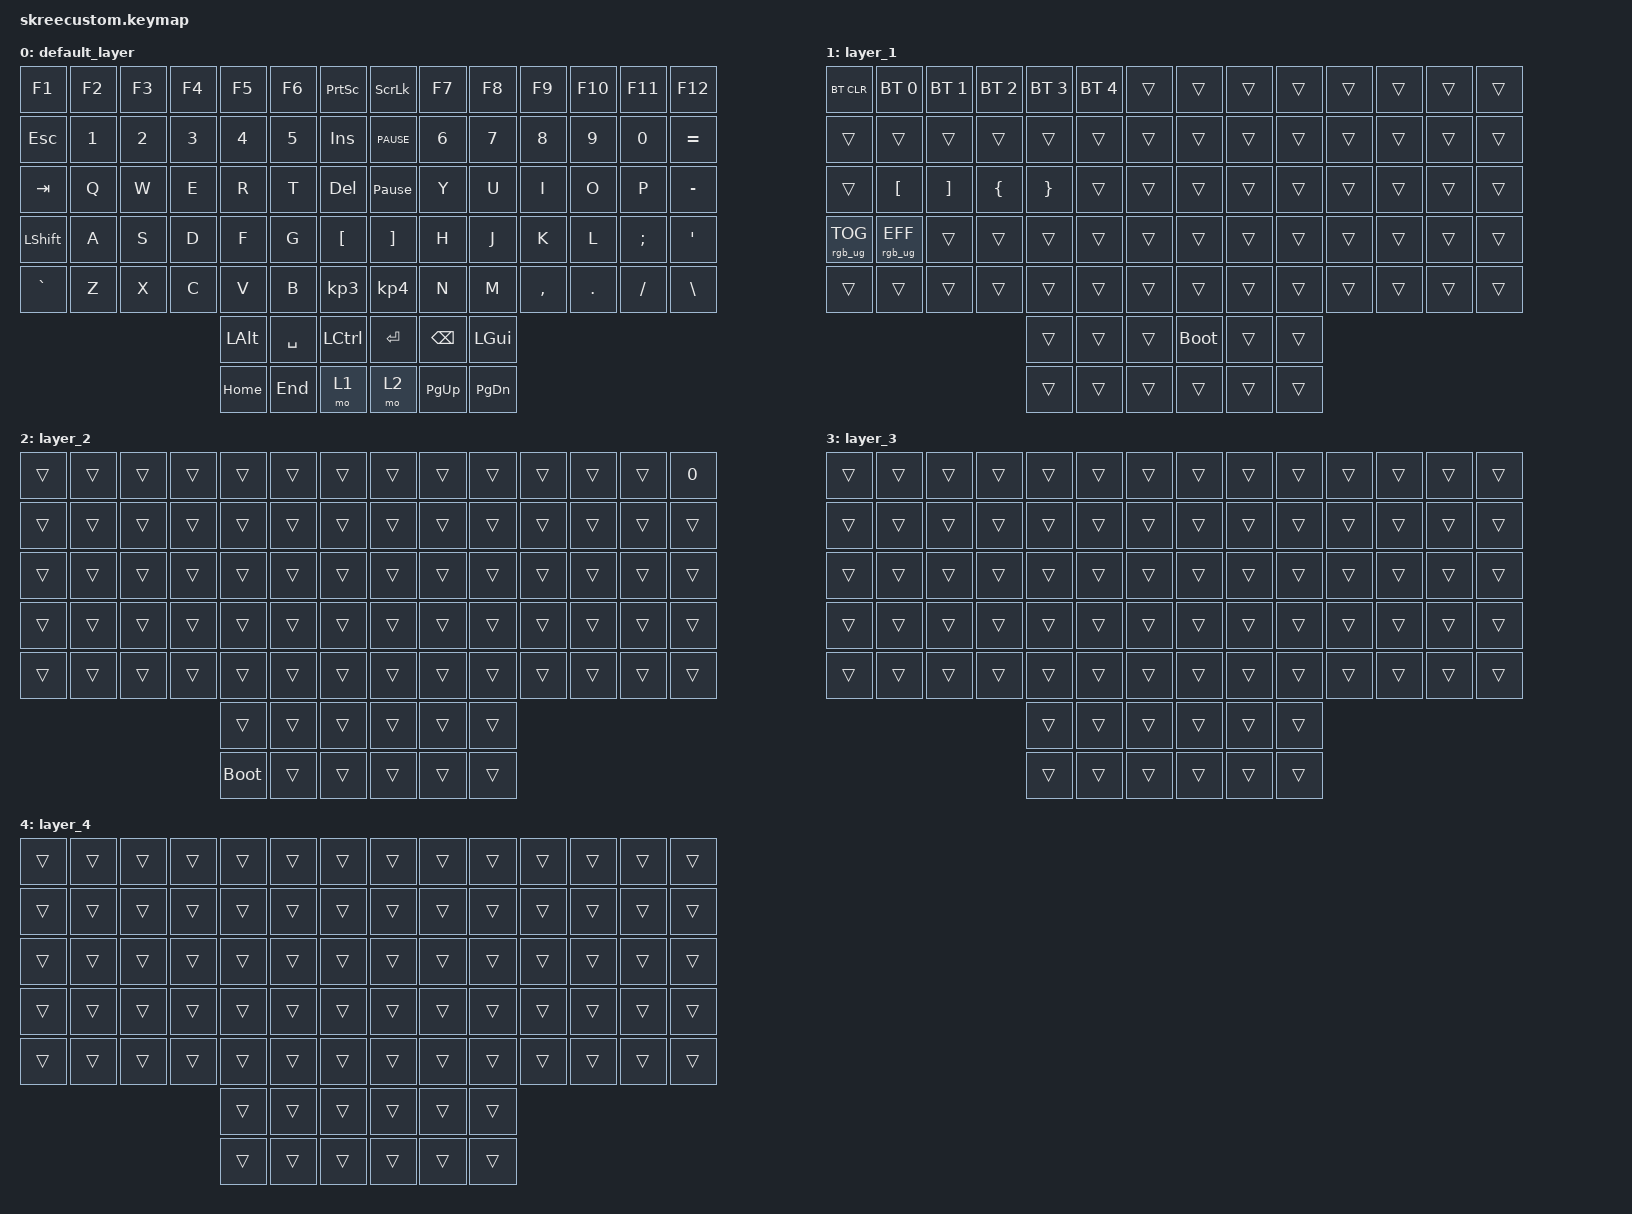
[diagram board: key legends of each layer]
/*
 * Copyright (c) 2020 The ZMK Contributors
 *
 * SPDX-License-Identifier: MIT
 */
//#include <behaviors/mouse_keys.dtsi>

#include <behaviors.dtsi>
#include <dt-bindings/zmk/bt.h>
#include <dt-bindings/zmk/keys.h>
#include <dt-bindings/zmk/rgb.h>

/ {
    keymap {
        compatible = "zmk,keymap";

        default_layer {
            bindings = <
&kp F1          &kp F2  &kp F3  &kp F4  &kp F5        &kp F6     &kp PRINTSCREEN     &kp SCROLLLOCK     &kp F7         &kp F8         &kp F9     &kp F10  &kp F11   &kp F12
&kp ESC         &kp N1  &kp N2  &kp N3  &kp N4        &kp N5     &kp INSERT          &kp C_PAUSE        &kp N6         &kp N7         &kp N8     &kp N9   &kp N0    &kp EQUAL
&kp TAB         &kp Q   &kp W   &kp E   &kp R         &kp T      &kp DELETE          &kp PAUSE_BREAK    &kp Y          &kp U          &kp I      &kp O    &kp P     &kp MINUS
&kp LEFT_SHIFT  &kp A   &kp S   &kp D   &kp F         &kp G      &kp LEFT_BRACKET    &kp RIGHT_BRACKET  &kp H          &kp J          &kp K      &kp L    &kp SEMI  &kp SQT
&kp GRAVE       &kp Z   &kp X   &kp C   &kp V         &kp B      &kp KP_NUMBER_3     &kp KP_NUMBER_4    &kp N          &kp M          &kp COMMA  &kp DOT  &kp FSLH  &kp BSLH
                                        &kp LEFT_ALT  &kp SPACE  &kp LEFT_CONTROL    &kp ENTER          &kp BACKSPACE  &kp LGUI
                                        &kp HOME      &kp END    &mo 1               &mo 2              &kp PAGE_UP    &kp PAGE_DOWN
            >;
        };

        layer_1 {
            bindings = <
&bt BT_CLR       &bt BT_SEL 0      &bt BT_SEL 1       &bt BT_SEL 2    &bt BT_SEL 3     &bt BT_SEL 4  &trans    &trans       &trans  &trans  &trans  &trans  &trans  &trans
&trans           &trans            &trans             &trans          &trans           &trans        &trans    &trans       &trans  &trans  &trans  &trans  &trans  &trans
&trans           &kp LEFT_BRACKET  &kp RIGHT_BRACKET  &kp LEFT_BRACE  &kp RIGHT_BRACE  &trans        &trans    &trans       &trans  &trans  &trans  &trans  &trans  &trans
&rgb_ug RGB_TOG  &rgb_ug RGB_EFF   &trans             &trans          &trans           &trans        &trans    &trans       &trans  &trans  &trans  &trans  &trans  &trans
&trans           &trans            &trans             &trans          &trans           &trans        &trans    &trans       &trans  &trans  &trans  &trans  &trans  &trans
                                                                      &trans           &trans        &trans    &bootloader  &trans  &trans
                                                                      &trans           &trans        &trans    &trans       &trans  &trans
            >;
        };

        layer_2 {
            bindings = <
&trans  &trans  &trans  &trans  &trans       &trans  &trans    &trans  &trans  &trans  &trans  &trans  &trans  &kp N0
&trans  &trans  &trans  &trans  &trans       &trans  &trans    &trans  &trans  &trans  &trans  &trans  &trans  &trans
&trans  &trans  &trans  &trans  &trans       &trans  &trans    &trans  &trans  &trans  &trans  &trans  &trans  &trans
&trans  &trans  &trans  &trans  &trans       &trans  &trans    &trans  &trans  &trans  &trans  &trans  &trans  &trans
&trans  &trans  &trans  &trans  &trans       &trans  &trans    &trans  &trans  &trans  &trans  &trans  &trans  &trans
                                &trans       &trans  &trans    &trans  &trans  &trans
                                &bootloader  &trans  &trans    &trans  &trans  &trans
            >;
        };

        layer_3 {
            bindings = <
&trans  &trans  &trans  &trans  &trans  &trans  &trans    &trans  &trans  &trans  &trans  &trans  &trans  &trans
&trans  &trans  &trans  &trans  &trans  &trans  &trans    &trans  &trans  &trans  &trans  &trans  &trans  &trans
&trans  &trans  &trans  &trans  &trans  &trans  &trans    &trans  &trans  &trans  &trans  &trans  &trans  &trans
&trans  &trans  &trans  &trans  &trans  &trans  &trans    &trans  &trans  &trans  &trans  &trans  &trans  &trans
&trans  &trans  &trans  &trans  &trans  &trans  &trans    &trans  &trans  &trans  &trans  &trans  &trans  &trans
                                &trans  &trans  &trans    &trans  &trans  &trans
                                &trans  &trans  &trans    &trans  &trans  &trans
            >;
        };

        layer_4 {
            bindings = <
&trans  &trans  &trans  &trans  &trans  &trans  &trans    &trans  &trans  &trans  &trans  &trans  &trans  &trans
&trans  &trans  &trans  &trans  &trans  &trans  &trans    &trans  &trans  &trans  &trans  &trans  &trans  &trans
&trans  &trans  &trans  &trans  &trans  &trans  &trans    &trans  &trans  &trans  &trans  &trans  &trans  &trans
&trans  &trans  &trans  &trans  &trans  &trans  &trans    &trans  &trans  &trans  &trans  &trans  &trans  &trans
&trans  &trans  &trans  &trans  &trans  &trans  &trans    &trans  &trans  &trans  &trans  &trans  &trans  &trans
                                &trans  &trans  &trans    &trans  &trans  &trans
                                &trans  &trans  &trans    &trans  &trans  &trans
            >;
        };
    };
};
